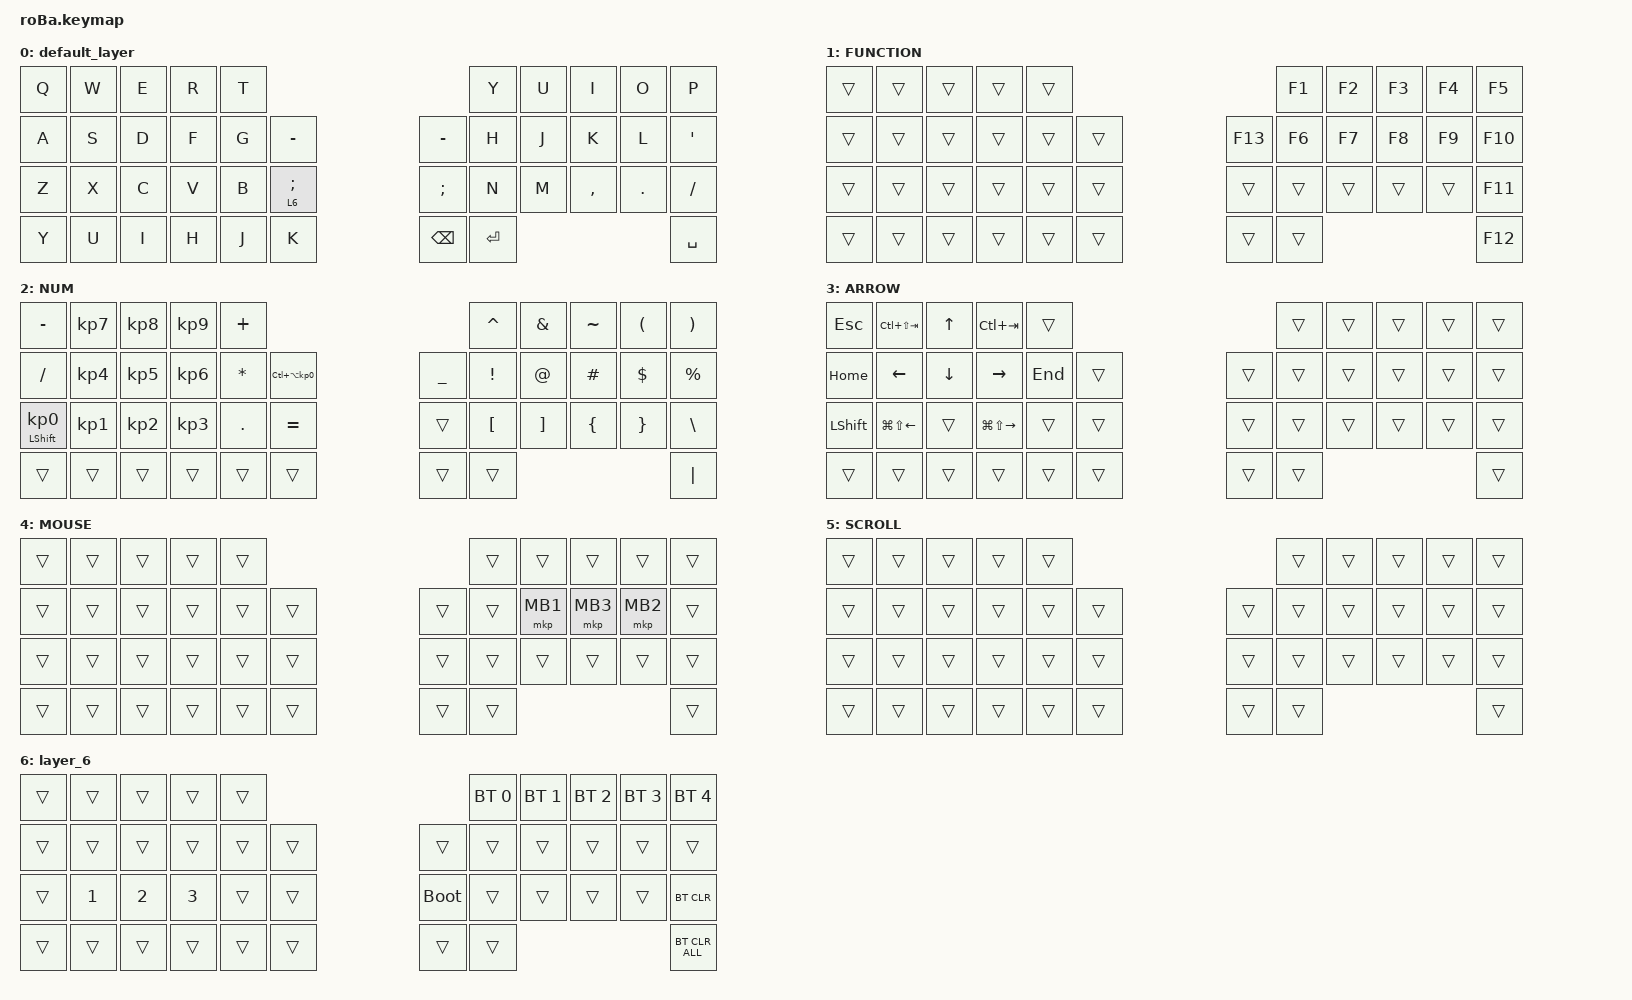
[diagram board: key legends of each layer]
#include <behaviors.dtsi>
#include <dt-bindings/zmk/bt.h>
#include <dt-bindings/zmk/keys.h>
#include <dt-bindings/zmk/pointing.h>

&mt {
    flavor = "balanced";
    quick-tap-ms = <0>;
};

/ {
    combos { compatible = "zmk,combos"; };

    macros {
        to_layer_0: to_layer_0 {
            compatible = "zmk,behavior-macro-one-param";
            #binding-cells = <1>;
            bindings = <&to 0 &macro_param_1to1 &kp MACRO_PLACEHOLDER>;
            label = "TO_LAYER_0";
        };
    };

    behaviors {
        lt_to_layer_0: lt_to_layer_0 {
            compatible = "zmk,behavior-hold-tap";
            label = "LAYER_TAP_TO_0";
            bindings = <&mo>, <&to_layer_0>;

            #binding-cells = <2>;
            tapping-term-ms = <200>;
        };
    };

    keymap {
        compatible = "zmk,keymap";

        default_layer {
            bindings = <
&kp Q  &kp W  &kp E  &kp R  &kp T                                      &kp Y      &kp U  &kp I      &kp O    &kp P
&kp A  &kp S  &kp D  &kp F  &kp G  &kp MINUS            &kp MINUS      &kp H      &kp J  &kp K      &kp L    &kp SQT
&kp Z  &kp X  &kp C  &kp V  &kp B  &lt 6 SEMICOLON      &kp SEMICOLON  &kp N      &kp M  &kp COMMA  &kp DOT  &kp SLASH
&kp Y  &kp U  &kp I  &kp H  &kp J  &kp K                &kp BACKSPACE  &kp ENTER                             &kp SPACE
            >;
        };

        FUNCTION {
            bindings = <
&trans  &trans  &trans  &trans  &trans                       &kp F1  &kp F2  &kp F3  &kp F4  &kp F5
&trans  &trans  &trans  &trans  &trans  &trans      &kp F13  &kp F6  &kp F7  &kp F8  &kp F9  &kp F10
&trans  &trans  &trans  &trans  &trans  &trans      &trans   &trans  &trans  &trans  &trans  &kp F11
&trans  &trans  &trans  &trans  &trans  &trans      &trans   &trans                          &kp F12
            >;
        };

        NUM {
            bindings = <
&kp MINUS                   &kp KP_NUMBER_7  &kp KP_NUMBER_8  &kp KP_NUMBER_9  &kp PLUS                                                   &kp CARET         &kp AMPERSAND      &kp TILDE       &kp LEFT_PARENTHESIS  &kp RIGHT_PARENTHESIS
&kp SLASH                   &kp KP_NUMBER_4  &kp KP_NUMBER_5  &kp KP_NUMBER_6  &kp ASTERISK  &kp LC(LA(KP_NUMBER_0))      &kp UNDERSCORE  &kp EXCLAMATION   &kp AT_SIGN        &kp HASH        &kp DOLLAR            &kp PERCENT
&mt LEFT_SHIFT KP_NUMBER_0  &kp KP_NUMBER_1  &kp KP_NUMBER_2  &kp KP_NUMBER_3  &kp PERIOD    &kp EQUAL                    &trans          &kp LEFT_BRACKET  &kp RIGHT_BRACKET  &kp LEFT_BRACE  &kp RIGHT_BRACE       &kp BACKSLASH
&trans                      &trans           &trans           &trans           &trans        &trans                       &trans          &trans                                                                     &kp PIPE
            >;
        };

        ARROW {
            bindings = <
&kp ESCAPE      &kp LC(LS(TAB))         &kp UP_ARROW    &kp LC(TAB)              &trans                       &trans  &trans  &trans  &trans  &trans
&kp HOME        &kp LEFT_ARROW          &kp DOWN_ARROW  &kp RIGHT_ARROW          &kp END  &trans      &trans  &trans  &trans  &trans  &trans  &trans
&kp LEFT_SHIFT  &kp LG(LS(LEFT_ARROW))  &trans          &kp LG(LS(RIGHT_ARROW))  &trans   &trans      &trans  &trans  &trans  &trans  &trans  &trans
&trans          &trans                  &trans          &trans                   &trans   &trans      &trans  &trans                          &trans
            >;
        };

        MOUSE {
            bindings = <
&trans  &trans  &trans  &trans  &trans                      &trans  &trans    &trans    &trans    &trans
&trans  &trans  &trans  &trans  &trans  &trans      &trans  &trans  &mkp MB1  &mkp MB3  &mkp MB2  &trans
&trans  &trans  &trans  &trans  &trans  &trans      &trans  &trans  &trans    &trans    &trans    &trans
&trans  &trans  &trans  &trans  &trans  &trans      &trans  &trans                                &trans
            >;
        };

        SCROLL {
            bindings = <
&trans  &trans  &trans  &trans  &trans                      &trans  &trans  &trans  &trans  &trans
&trans  &trans  &trans  &trans  &trans  &trans      &trans  &trans  &trans  &trans  &trans  &trans
&trans  &trans  &trans  &trans  &trans  &trans      &trans  &trans  &trans  &trans  &trans  &trans
&trans  &trans  &trans  &trans  &trans  &trans      &trans  &trans                          &trans
            >;
        };

        layer_6 {
            bindings = <
&trans  &trans        &trans        &trans        &trans                           &bt BT_SEL 0  &bt BT_SEL 1  &bt BT_SEL 2  &bt BT_SEL 3  &bt BT_SEL 4
&trans  &trans        &trans        &trans        &trans  &trans      &trans       &trans        &trans        &trans        &trans        &trans
&trans  &kp NUMBER_1  &kp NUMBER_2  &kp NUMBER_3  &trans  &trans      &bootloader  &trans        &trans        &trans        &trans        &bt BT_CLR
&trans  &trans        &trans        &trans        &trans  &trans      &trans       &trans                                                  &bt BT_CLR_ALL
            >;
        };
    };
};
